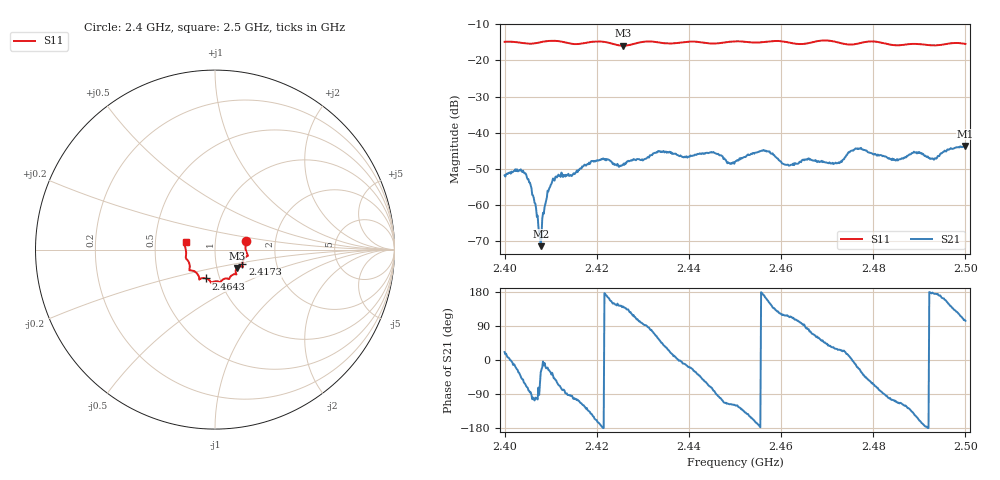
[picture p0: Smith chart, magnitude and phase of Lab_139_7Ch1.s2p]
# Hz S RI R 50
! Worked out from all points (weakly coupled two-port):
!   601 points, 2.4 GHz to 2.5 GHz, reference 50 ohm
!   highest |S21| = -43.63 dB at 2.5 GHz (marker M1); lowest = -71.3 dB at 2.4078 GHz (marker M2)
!   lowest |S11| = -15.9 dB at 2.4257 GHz (marker M3), VSWR 1.38, Z = 62.4 - j13.1 ohm
!   |S11| at or under -10 dB: start of sweep to end of sweep
!   S12 and S22 are empty: the file has one direction only
!   S11 on the Smith chart (normalised r, x): 2.4 GHz: 1.41, +0.15; 2.4173 GHz: 1.34, -0.23; 2.4643 GHz: 0.86, -0.28; 2.5 GHz: 0.72, +0.06
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2.4e9  0.1735 0.0499  0.00242 0.000928  0 0  0 0
2.4045e9  0.1705 0.0195  0.00122 -0.00248  0 0  0 0
2.405833e9  0.1701 0.00327  -7.23e-05 -0.00171  0 0  0 0
2.4075e9  0.1758 -0.016  -1.58e-05 -0.000418  0 0  0 0
2.407833e9  0.1773 -0.0195  0.000229 -0.000147  0 0  0 0
2.409167e9  0.1822 -0.0295  0.00119 -0.000466  0 0  0 0
2.410667e9  0.1835 -0.0339  0.0015 -0.00167  0 0  0 0
2.416667e9  0.153 -0.0746  -0.00132 -0.00293  0 0  0 0
2.417333e9  0.1524 -0.0822  -0.00196 -0.00306  0 0  0 0
2.425667e9  0.1224 -0.1022  -0.00282 0.00225  0 0  0 0
2.433333e9  0.113 -0.1368  0.00309 0.00469  0 0  0 0
2.445167e9  0.0541 -0.162  0.00116 -0.00526  0 0  0 0
2.45e9  0.0297 -0.1811  -0.00193 -0.00345  0 0  0 0
2.456167e9  -0.00795 -0.1788  -0.00572 0.000857  0 0  0 0
2.460667e9  -0.0251 -0.18  -0.00175 0.00323  0 0  0 0
2.464333e9  -0.05 -0.1606  -0.000548 0.00389  0 0  0 0
2.466667e9  -0.0762 -0.16  0.00145 0.00394  0 0  0 0
2.472667e9  -0.0895 -0.1501  0.0034 0.00173  0 0  0 0
2.476833e9  -0.1254 -0.117  0.0055 -0.0023  0 0  0 0
2.483333e9  -0.1408 -0.0894  -0.000764 -0.00433  0 0  0 0
2.493167e9  -0.1608 -0.0119  -0.00424 0.000365  0 0  0 0
2.5e9  -0.1635 0.0423  -0.00152 0.00641  0 0  0 0
